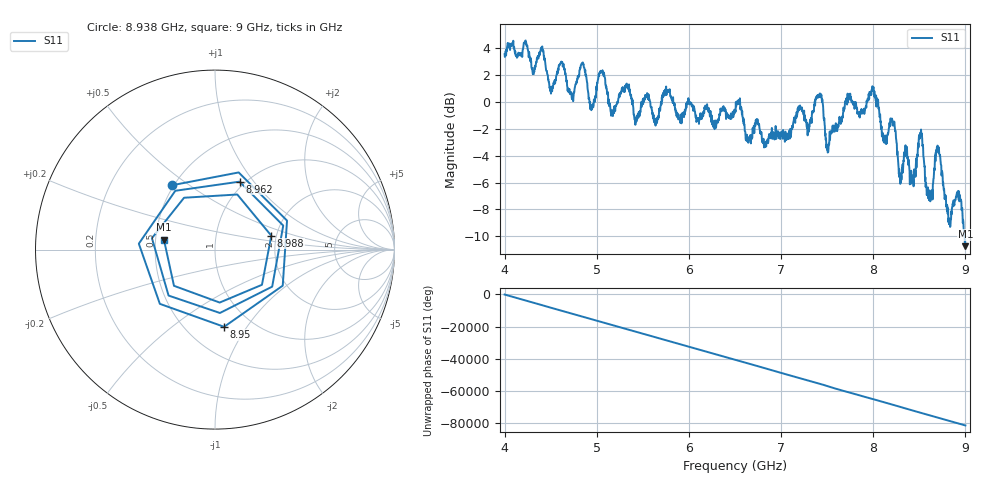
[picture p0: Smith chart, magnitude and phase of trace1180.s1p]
! Created with skrf 1.8.0 (http://scikit-rf.org).
# Hz S RI R 50.0
!freq ReS11 ImS11
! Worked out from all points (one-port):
!   1601 points, 4 GHz to 9 GHz, reference 50 ohm
!   lowest |S11| = -10.7 dB at 9 GHz (marker M1), VSWR 1.82, Z = 27.7 + j3.4 ohm
!   |S11| at or under -10 dB: 8.992011 GHz to end of sweep
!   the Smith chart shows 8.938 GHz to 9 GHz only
!   S11 on the Smith chart (normalised r, x): 8.938 GHz: 0.49, +0.43; 8.95 GHz: 0.75, -0.79; 8.962 GHz: 0.94, +0.85; 8.988 GHz: 1.88, +0.33; 9 GHz: 0.55, +0.07
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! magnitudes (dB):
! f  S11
! 4 GHz  3.6
! 4.625 GHz  3.0
! 4.85 GHz  2.9
! 4.941 GHz  -0.6
! 5.047 GHz  2.3
! 5.25 GHz  0.7
! 5.875 GHz  -1.0
! 6.5 GHz  -0.7
! 6.647 GHz  -2.8
! 7.125 GHz  -1.8
! 7.416 GHz  0.4
! 7.509 GHz  -3.7
! 7.75 GHz  0.6
! 7.997 GHz  0.8
! 8.119 GHz  -2.8
! 8.219 GHz  -1.5
! 8.297 GHz  -5.6
! 8.375 GHz  -4.1
! 8.434 GHz  -5.8
! 8.516 GHz  -2.5
! 8.606 GHz  -7.3
! 8.703 GHz  -3.6
! 8.819 GHz  -8.6
! 8.938 GHz  -7.3
! 8.95 GHz  -7.3
! 8.962 GHz  -7.9
! 8.988 GHz  -9.8
! 9 GHz  -10.7
